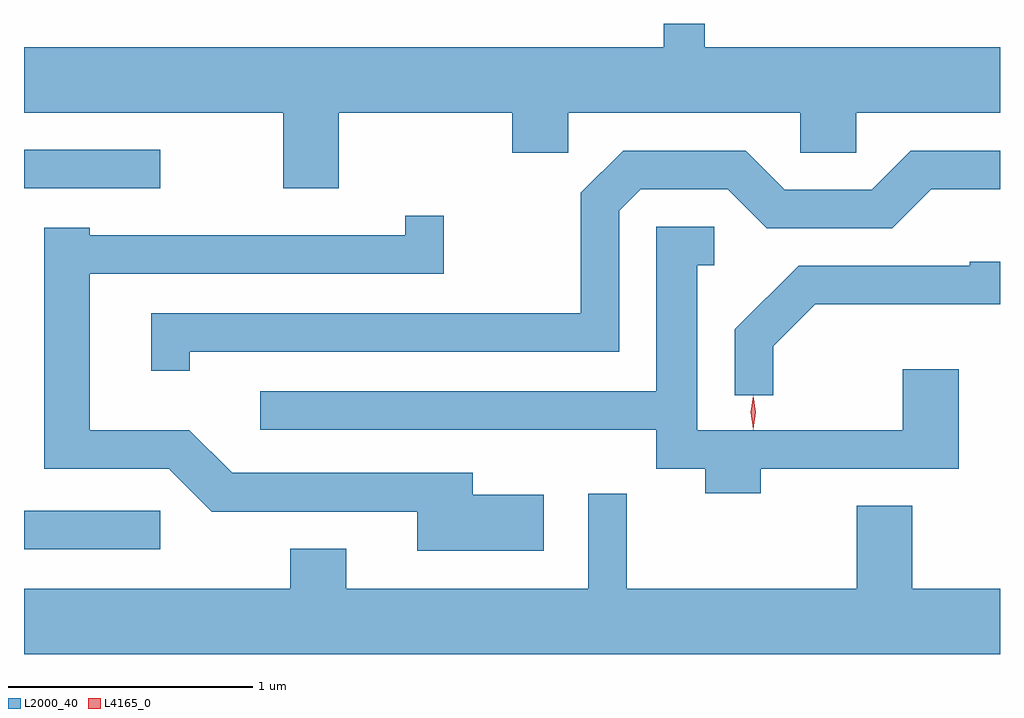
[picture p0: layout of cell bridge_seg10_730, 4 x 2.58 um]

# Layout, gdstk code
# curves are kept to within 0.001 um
import gdstk
lib = gdstk.Library(unit=1e-6, precision=1e-09)
def R(c, l, rs):  # rectangles x0, y0, x1, y1
    for r in rs: c.add(gdstk.rectangle(r[:2], r[2:], *l))
def P(c, l, *ps):  # polygons
    for p in ps: c.add(gdstk.Polygon(p, *l))
L2000_40 = (2000, 40)
L4165_0 = (4165, 0)

bridge_seg10_730 = lib.new_cell('bridge_seg10_730')
R(bridge_seg10_730, L2000_40, [(515.679,2107.686,516.237,2107.844), (515.679,2109.166,516.237,2109.324)])
P(bridge_seg10_730, L2000_40, [(516.969,2109.476),(517.681,2109.476),(517.681,2109.311),(517.909,2109.311),(517.909,2109.476),(518.861,2109.476),(518.861,2109.311),(519.089,2109.311),(519.089,2109.476),(519.679,2109.476),(519.679,2109.744),(518.469,2109.744),(518.469,2109.84),(518.301,2109.84),(518.301,2109.744),(515.679,2109.744),(515.679,2109.476),(516.741,2109.476),(516.741,2109.166),(516.969,2109.166)],
  [(516.359,2108.496),(518.119,2108.496),(518.119,2109.074),(518.207,2109.161),(518.564,2109.161),(518.724,2109.001),(519.237,2109.001),(519.397,2109.161),(519.679,2109.161),(519.679,2109.319),(519.314,2109.319),(519.154,2109.159),(518.797,2109.159),(518.636,2109.319),(518.134,2109.319),(517.961,2109.147),(517.961,2108.654),(516.201,2108.654),(516.201,2108.418),(516.359,2108.418)],
  [(517.809,2107.909),(517.519,2107.909),(517.519,2107.999),(516.532,2107.999),(516.357,2108.174),(515.949,2108.174),(515.949,2108.816),(517.399,2108.816),(517.399,2109.053),(517.241,2109.053),(517.241,2108.974),(515.949,2108.974),(515.949,2109.004),(515.761,2109.004),(515.761,2108.016),(516.274,2108.016),(516.448,2107.841),(517.291,2107.841),(517.291,2107.681),(517.809,2107.681)],
  [(518.699,2108.016),(519.509,2108.016),(519.509,2108.424),(519.281,2108.424),(519.281,2108.174),(518.439,2108.174),(518.439,2108.851),(518.508,2108.851),(518.508,2109.009),(518.271,2109.009),(518.271,2108.334),(516.648,2108.334),(516.648,2108.176),(518.271,2108.176),(518.271,2108.016),(518.471,2108.016),(518.471,2107.916),(518.699,2107.916)],
  [(518.749,2108.519),(518.922,2108.691),(519.679,2108.691),(519.679,2108.864),(519.555,2108.864),(519.555,2108.849),(518.854,2108.849),(518.591,2108.587),(518.591,2108.318),(518.749,2108.318)],
  [(519.679,2107.524),(519.319,2107.524),(519.319,2107.864),(519.091,2107.864),(519.091,2107.524),(518.149,2107.524),(518.149,2107.913),(517.991,2107.913),(517.991,2107.524),(516.999,2107.524),(516.999,2107.689),(516.771,2107.689),(516.771,2107.524),(515.679,2107.524),(515.679,2107.256),(519.679,2107.256)])
P(bridge_seg10_730, L4165_0, [(518.667,2108.177),(518.667,2108.178),(518.657,2108.247),(518.667,2108.316),(518.667,2108.317),(518.668,2108.316),(518.677,2108.247),(518.668,2108.178)])

lib.write_gds('bridge_seg10_730.gds')
